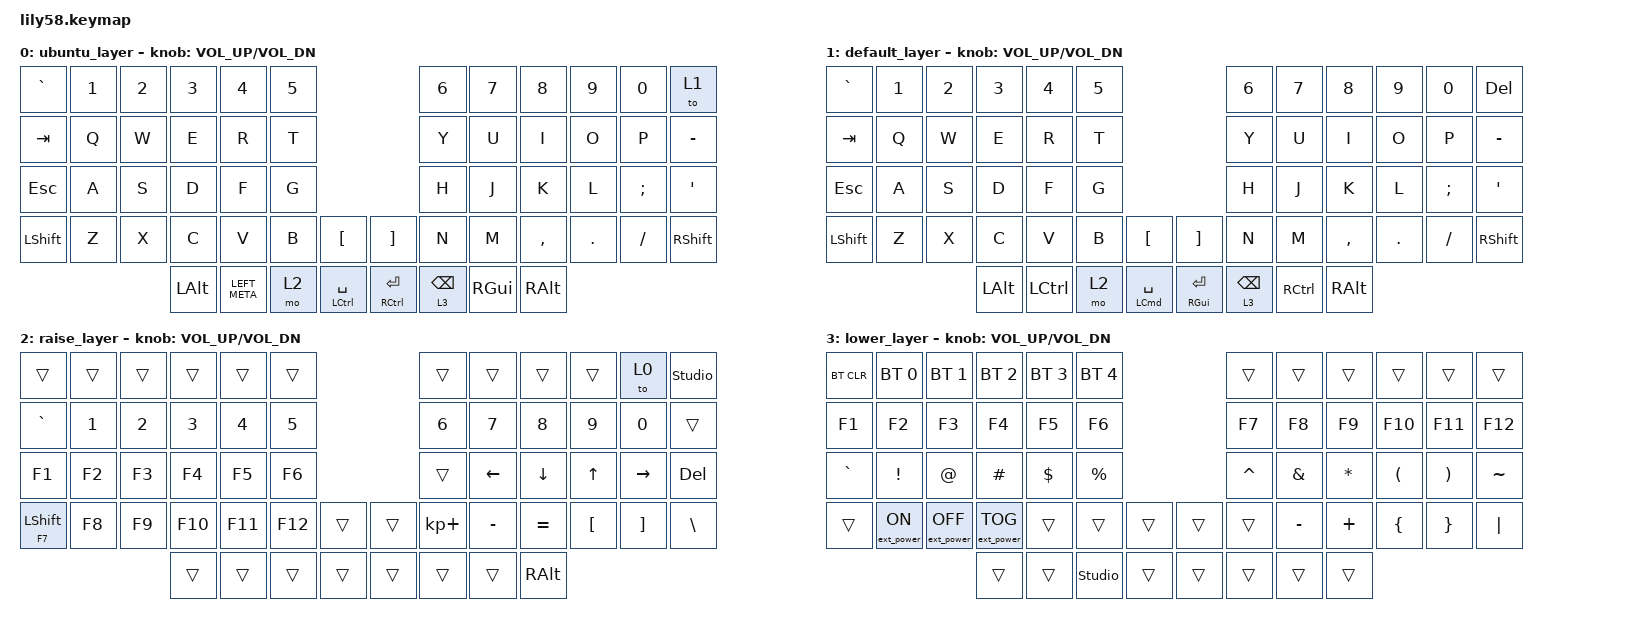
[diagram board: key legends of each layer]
/*
 * Copyright (c) 2020 The ZMK Contributors
 *
 * SPDX-License-Identifier: MIT
 */

#include <behaviors.dtsi>
#include <dt-bindings/zmk/bt.h>
#include <dt-bindings/zmk/ext_power.h>
#include <dt-bindings/zmk/keys.h>

/ {
    keymap {
        compatible = "zmk,keymap";

        ubuntu_layer {
            bindings = <
&kp GRAVE   &kp N1  &kp N2  &kp N3    &kp N4         &kp N5                                      &kp N6           &kp N7         &kp N8         &kp N9   &kp N0    &to 1
&kp TAB     &kp Q   &kp W   &kp E     &kp R          &kp T                                       &kp Y            &kp U          &kp I          &kp O    &kp P     &kp MINUS
&kp ESCAPE  &kp A   &kp S   &kp D     &kp F          &kp G                                       &kp H            &kp J          &kp K          &kp L    &kp SEMI  &kp SQT
&kp LSHFT   &kp Z   &kp X   &kp C     &kp V          &kp B   &kp LBKT           &kp RBKT         &kp N            &kp M          &kp COMMA      &kp DOT  &kp FSLH  &kp RSHFT
                            &kp LALT  &kp LEFT_META  &mo 2   &mt LCTRL SPACE    &mt RCTRL ENTER  &lt 3 BACKSPACE  &kp RIGHT_GUI  &kp RIGHT_ALT
            >;

            sensor-bindings = <&inc_dec_kp C_VOL_UP C_VOL_DN>;
        };

        default_layer {
            bindings = <
&kp GRAVE   &kp N1  &kp N2  &kp N3    &kp N4            &kp N5                                                 &kp N6           &kp N7     &kp N8         &kp N9   &kp N0    &kp DELETE
&kp TAB     &kp Q   &kp W   &kp E     &kp R             &kp T                                                  &kp Y            &kp U      &kp I          &kp O    &kp P     &kp MINUS
&kp ESCAPE  &kp A   &kp S   &kp D     &kp F             &kp G                                                  &kp H            &kp J      &kp K          &kp L    &kp SEMI  &kp SQT
&kp LSHFT   &kp Z   &kp X   &kp C     &kp V             &kp B   &kp LBKT                  &kp RBKT             &kp N            &kp M      &kp COMMA      &kp DOT  &kp FSLH  &kp RSHFT
                            &kp LALT  &kp LEFT_CONTROL  &mo 2   &mt LEFT_COMMAND SPACE    &mt RIGHT_GUI ENTER  &lt 3 BACKSPACE  &kp RCTRL  &kp RIGHT_ALT
            >;

            sensor-bindings = <&inc_dec_kp C_VOL_UP C_VOL_DN>;
        };

        raise_layer {
            // ------------------------------------------------------------------------------------------------------------
            // |       |     |     |      |      |      |                   |      |       |       |      |       |       |
            // |   `   |  1  |  2  |  3   |  4   |  5   |                   |  6   |   7   |   8   |  9   |   0   |       |
            // |   F1  |  F2 |  F3 |  F4  |  F5  |  F6  |                   |      |   <-  |   v   |  ^   |  ->   |       |
            // |   F7  |  F8 |  F9 |  F10 |  F11 |  F12 |        |  |       |  +   |   -   |   =   |  [   |   ]   |   \   |
            //                     |      |      |      |        |  |       |      |       |       |

            bindings = <
&trans             &trans  &trans  &trans   &trans   &trans                     &trans       &trans     &trans         &trans    &to 0      &studio_unlock
&kp GRAVE          &kp N1  &kp N2  &kp N3   &kp N4   &kp N5                     &kp N6       &kp N7     &kp N8         &kp N9    &kp N0     &trans
&kp F1             &kp F2  &kp F3  &kp F4   &kp F5   &kp F6                     &trans       &kp LEFT   &kp DOWN       &kp UP    &kp RIGHT  &kp DELETE
&mt F7 LEFT_SHIFT  &kp F8  &kp F9  &kp F10  &kp F11  &kp F12  &trans    &trans  &kp KP_PLUS  &kp MINUS  &kp EQUAL      &kp LBKT  &kp RBKT   &kp BSLH
                                   &trans   &trans   &trans   &trans    &trans  &trans       &trans     &kp RIGHT_ALT
            >;

            sensor-bindings = <&inc_dec_kp C_VOL_UP C_VOL_DN>;
        };

        lower_layer {
            // ------------------------------------------------------------------------------------------------------------
            // | BTCLR | BT1 | BT2 |  BT3 |  BT4 |  BT5 |                   |      |       |       |      |       |       |
            // |  F1   |  F2 |  F3 |  F4  |  F5  |  F6  |                   |  F7  |  F8   |  F9   |  F10 |  F11  |  F12  |
            // |   `   |  !  |  @  |  #   |  $   |  %   |                   |  ^   |  &    |  *    |  (   |   )   |   ~   |
            // |       |     |     |      |      |      |        |  |       |      |  _    |  +    |  {   |   }   |  "|"  |
            //                     |      |      |      |        |  |       |      |       |       |

            bindings = <
&bt BT_CLR  &bt BT_SEL 0      &bt BT_SEL 1       &bt BT_SEL 2       &bt BT_SEL 3  &bt BT_SEL 4                      &trans     &trans     &trans     &trans    &trans    &trans
&kp F1      &kp F2            &kp F3             &kp F4             &kp F5        &kp F6                            &kp F7     &kp F8     &kp F9     &kp F10   &kp F11   &kp F12
&kp GRAVE   &kp EXCL          &kp AT             &kp HASH           &kp DOLLAR    &kp PRCNT                         &kp CARET  &kp AMPS   &kp ASTRK  &kp LPAR  &kp RPAR  &kp TILDE
&trans      &ext_power EP_ON  &ext_power EP_OFF  &ext_power EP_TOG  &trans        &trans          &trans    &trans  &trans     &kp MINUS  &kp PLUS   &kp LBRC  &kp RBRC  &kp PIPE
                                                 &trans             &trans        &studio_unlock  &trans    &trans  &trans     &trans     &trans
            >;

            sensor-bindings = <&inc_dec_kp C_VOL_UP C_VOL_DN>;
        };
    };
};
